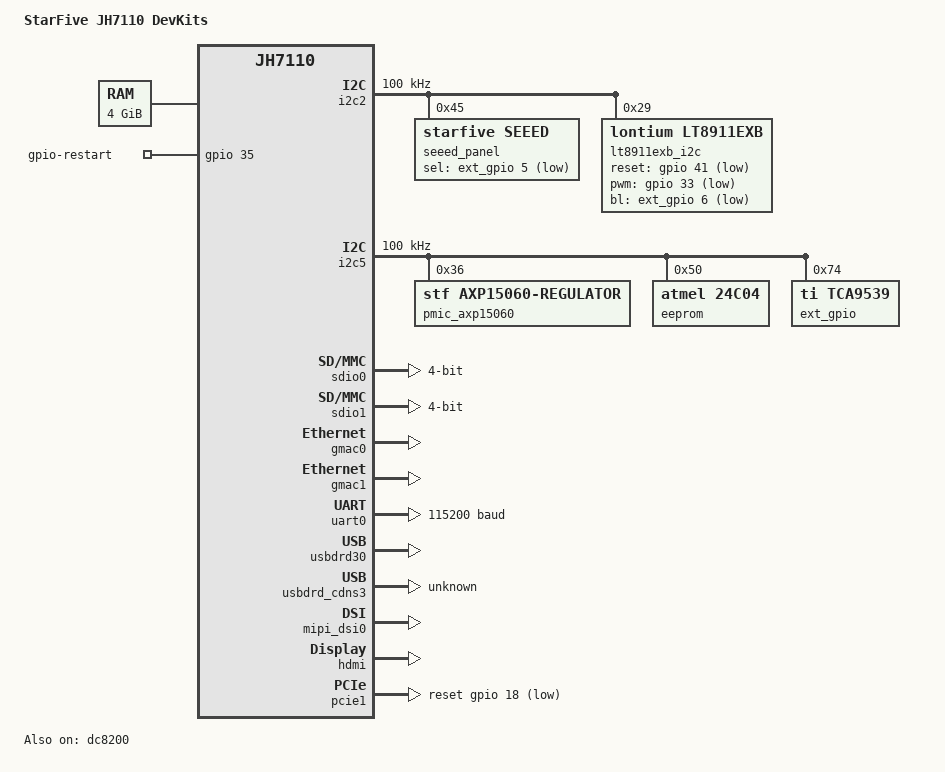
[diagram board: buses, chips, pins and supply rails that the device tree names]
// SPDX-License-Identifier: GPL-2.0 OR MIT
/*
 * Copyright (C) 2022 StarFive Technology Co., Ltd.
 */

/dts-v1/;

#include "jh7110.dtsi"
#include <dt-bindings/pinctrl/pinctrl-starfive-jh7110.h>
#include <dt-bindings/gpio/gpio.h>
/ {
	#address-cells = <2>;
	#size-cells = <2>;
	model = "StarFive JH7110 DevKits";
	compatible = "starfive,jh7110";

	aliases {
		spi0="/soc/spi@13010000";
		gpio0="/soc/gpio@13040000";
		ethernet0=&gmac0;
		ethernet1=&gmac1;
		mmc0=&sdio0;
		mmc1=&sdio1;
		i2c5=&i2c5;
	};

	chosen {
			stdout-path = "/soc/serial@10000000:115200";
			starfive,boot-hart-id = <1>;
	};


	memory@80000000 {
		device_type = "memory";
		reg = <0x0 0x40000000 0x1 0x0>;
	};

	soc {
	};

	gpio-restart {
		compatible = "gpio-restart";
		gpios = <&gpio 35 GPIO_ACTIVE_HIGH>;
	};
};

&cpu0 {
	status = "okay";
};

&clkgen {
	clocks = <&osc>, <&gmac1_rmii_refin>,
		<&stg_apb>, <&gmac0_rmii_refin>;
	clock-names = "osc", "gmac1_rmii_refin",
		"stg_apb", "gmac0_rmii_refin";
};

&gpio {
	status = "okay";
	gpio-controller;

	i2c2_pins: i2c2-0 {
		i2c-pins {
			pinmux = <GPIOMUX(3, GPOUT_LOW,
					     GPOEN_SYS_I2C2_CLK,
					     GPI_SYS_I2C2_CLK)>,
				 <GPIOMUX(2, GPOUT_LOW,
					     GPOEN_SYS_I2C2_DATA,
					     GPI_SYS_I2C2_DATA)>;
			bias-disable; /* external pull-up */
			input-enable;
			input-schmitt-enable;
		};
	};

	i2c5_pins: i2c5-0 {
		i2c-pins {
			pinmux = <GPIOMUX(19, GPOUT_LOW,
					      GPOEN_SYS_I2C5_CLK,
					      GPI_SYS_I2C5_CLK)>,
				 <GPIOMUX(20, GPOUT_LOW,
					      GPOEN_SYS_I2C5_DATA,
					      GPI_SYS_I2C5_DATA)>;
			bias-disable; /* external pull-up */
			input-enable;
			input-schmitt-enable;
		};
	};

	mmc0_pins: mmc0-pins {
		 mmc0-pins-rest {
			pinmux = <GPIOMUX(22, GPOUT_SYS_SDIO0_RST,
						GPOEN_ENABLE, GPI_NONE)>;
			bias-pull-up;
			drive-strength = <12>;
			input-disable;
			input-schmitt-disable;
			slew-rate = <0>;
		};
	};

	sdcard1_pins: sdcard1-pins {
		sdcard1-pins0 {
			pinmux = <GPIOMUX(10, GPOUT_SYS_SDIO1_CLK,
						GPOEN_ENABLE, GPI_NONE)>;
			bias-pull-up;
			drive-strength = <12>;
			input-disable;
			input-schmitt-disable;
			slew-rate = <0>;
		};

		sdcard1-pins1 {
			pinmux = <GPIOMUX(9, GPOUT_SYS_SDIO1_CMD,
						GPOEN_SYS_SDIO1_CMD, GPI_SYS_SDIO1_CMD)>;
			bias-pull-up;
			drive-strength = <12>;
			input-enable;
			input-schmitt-enable;
			slew-rate = <0>;
		};

		sdcard1-pins2 {
			pinmux = <GPIOMUX(11, GPOUT_SYS_SDIO1_DATA0,
						GPOEN_SYS_SDIO1_DATA0, GPI_SYS_SDIO1_DATA0)>;
			bias-pull-up;
			drive-strength = <12>;
			input-enable;
			input-schmitt-enable;
			slew-rate = <0>;
		};

		sdcard1-pins3 {
			pinmux = <GPIOMUX(12, GPOUT_SYS_SDIO1_DATA1,
						GPOEN_SYS_SDIO1_DATA1, GPI_SYS_SDIO1_DATA1)>;
			bias-pull-up;
			drive-strength = <12>;
			input-enable;
			input-schmitt-enable;
			slew-rate = <0>;
		};

		sdcard1-pins4 {
			pinmux = <GPIOMUX(7, GPOUT_SYS_SDIO1_DATA2,
						GPOEN_SYS_SDIO1_DATA2, GPI_SYS_SDIO1_DATA2)>;
			bias-pull-up;
			drive-strength = <12>;
			input-enable;
			input-schmitt-enable;
			slew-rate = <0>;
		};

		sdcard1-pins5 {
			pinmux = <GPIOMUX(8, GPOUT_SYS_SDIO1_DATA3,
						GPOEN_SYS_SDIO1_DATA3, GPI_SYS_SDIO1_DATA3)>;
			bias-pull-up;
			drive-strength = <12>;
			input-enable;
			input-schmitt-enable;
			slew-rate = <0>;
		};
	};

	hdmi_pins: hdmi-0 {
		i2c-pins {
			pinmux = <GPIOMUX(0, GPOUT_SYS_HDMI_DDC_SCL,
				  GPOEN_SYS_HDMI_DDC_SCL,
				  GPI_SYS_HDMI_DDC_SCL)>,
				 <GPIOMUX(1, GPOUT_SYS_HDMI_DDC_SDA,
				  GPOEN_SYS_HDMI_DDC_SDA,
				  GPI_SYS_HDMI_DDC_SDA)>;
			bias-pull-up;
			input-enable;
		};

		cec-pins {
			pinmux = <GPIOMUX(14, GPOUT_SYS_HDMI_CEC_SDA,
				  GPOEN_SYS_HDMI_CEC_SDA,
				  GPI_SYS_HDMI_CEC_SDA)>;
			bias-pull-up;
			input-enable;
		};

		hpd-pins {
			pinmux = <GPIOMUX(15, GPOUT_LOW,
				  GPOEN_DISABLE,
				  GPI_SYS_HDMI_HPD)>;
			input-enable;
		};
	};
};

&i2c2 {
	clock-frequency = <100000>;
	i2c-sda-hold-time-ns = <300>;
	i2c-sda-falling-time-ns = <510>;
	i2c-scl-falling-time-ns = <510>;
	auto_calc_scl_lhcnt;
	pinctrl-names = "default";
	pinctrl-0 = <&i2c2_pins>;
	status = "okay";

	seeed_panel: seeed_panel@45 {
		compatible = "starfive,seeed";
		reg = <0x45>;
		sel-gpios = <&ext_gpio 5 GPIO_ACTIVE_LOW>;
	};

	lt8911exb_i2c@29 {
		compatible = "lontium,lt8911exb";
		reg = <0x29>;
		reset-gpios = <&gpio 41 1>;
		pwm-gpios = <&gpio 33 1>;
		bl-gpios = <&ext_gpio 6 GPIO_ACTIVE_LOW>;

	};
};

&i2c5 {
	clock-frequency = <100000>;
	i2c-sda-hold-time-ns = <300>;
	i2c-sda-falling-time-ns = <510>;
	i2c-scl-falling-time-ns = <510>;
	pinctrl-names = "default";
	pinctrl-0 = <&i2c5_pins>;
	status = "okay";

	pmic_axp15060: axp15060_reg@36 {
		compatible = "stf,axp15060-regulator";
		reg = <0x36>;
	};

	eeprom@50 {
		compatible = "atmel,24c04";
		reg = <0x50>;
		pagesize = <16>;
	};

	ext_gpio: ext_gpio@74 {
		compatible = "ti,tca9539";
		reg = <0x74>;
		gpio-controller;
		#gpio-cells = <2>;
	};
};

&sdio0 {
	assigned-clocks = <&clkgen JH7110_SDIO0_CLK_SDCARD>;
	assigned-clock-rates = <50000000>;
	fifo-depth = <32>;
	bus-width = <4>;
	status = "okay";
	pinctrl-names = "default";
	pinctrl-0 = <&mmc0_pins>;
};

&sdio1 {
	assigned-clocks = <&clkgen JH7110_SDIO1_CLK_SDCARD>;
	assigned-clock-rates = <50000000>;
	fifo-depth = <32>;
	bus-width = <4>;
	status = "okay";
	pinctrl-names = "default";
	pinctrl-0 = <&sdcard1_pins>;
};

&gmac0 {
	status = "okay";
	#address-cells = <1>;
	#size-cells = <0>;
	phy0: ethernet-phy@0 {
		rxc_dly_en = <0>;
		rx_delay_sel = <0xb>;
		tx_delay_sel_fe = <5>;
		tx_delay_sel = <0xa>;
		tx_inverted_10 = <0x1>;
		tx_inverted_100 = <0x1>;
		tx_inverted_1000 = <0x1>;
	};
};

&gmac1 {
	status = "okay";
	#address-cells = <1>;
	#size-cells = <0>;
	phy1: ethernet-phy@1 {
		rgmii_sw_dr_2 = <0x0>;
		rgmii_sw_dr = <0x3>;
		rgmii_sw_dr_rxc = <0x7>;
		tx_delay_sel_fe = <5>;
		tx_delay_sel = <0>;
		rxc_dly_en = <0>;
		rx_delay_sel = <0x2>;
		tx_inverted_10 = <0x1>;
		tx_inverted_100 = <0x1>;
		tx_inverted_1000 = <0x0>;
	};
};

&uart0 {
	reg-offset = <0>;
	current-speed = <115200>;
	status = "okay";
};

&gpioa {
	status = "disabled";
};

&usbdrd30 {
	clocks = <&clkgen JH7110_USB_125M>,
		 <&clkgen JH7110_USB0_CLK_APP_125>,
		 <&clkgen JH7110_USB0_CLK_LPM>,
		 <&clkgen JH7110_USB0_CLK_STB>,
		 <&clkgen JH7110_USB0_CLK_USB_APB>,
		 <&clkgen JH7110_USB0_CLK_AXI>,
		 <&clkgen JH7110_USB0_CLK_UTMI_APB>,
		 <&clkgen JH7110_PCIE0_CLK_APB>;
	clock-names = "125m","app","lpm","stb","apb","axi","utmi", "phy";
	resets = <&rstgen RSTN_U0_CDN_USB_PWRUP>,
		 <&rstgen RSTN_U0_CDN_USB_APB>,
		 <&rstgen RSTN_U0_CDN_USB_AXI>,
		 <&rstgen RSTN_U0_CDN_USB_UTMI_APB>,
		 <&rstgen RSTN_U0_PLDA_PCIE_APB>;
	reset-names = "pwrup","apb","axi","utmi", "phy";
	starfive,usb2-only = <0>;
	status = "okay";
};

&usbdrd_cdns3 {
	dr_mode = "unknown";
	dr_num_mode = <1>;
};

&timer {
	status = "disabled";
};

&wdog {
	status = "disabled";
};

&clkvout {
	status = "okay";
};

&pdm {
	status = "disabled";
};

&dc8200 {
	status = "okay";
};
&mipi_dsi0 {
	status = "okay";
	rockchip,panel = <&seeed_panel>;
	data-lanes-num = <1>;
	status = "okay";
};

&hdmi{
	pinctrl-names = "default";
	pinctrl-0 = <&hdmi_pins>;
	status = "okay";
};

&pcie1 {
	power-gpios = <&ext_gpio 0 GPIO_ACTIVE_HIGH>;
	reset-gpios = <&gpio 18 GPIO_ACTIVE_LOW>;
	status = "okay";
};
